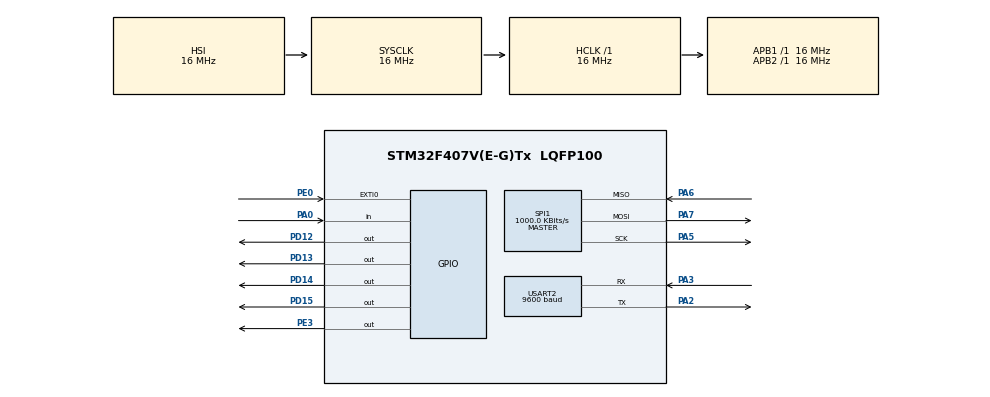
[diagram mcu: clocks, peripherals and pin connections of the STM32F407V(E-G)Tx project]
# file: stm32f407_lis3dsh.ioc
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Mcu.Family=STM32F4
Mcu.Name=STM32F407V(E-G)Tx
Mcu.Package=LQFP100
NVIC.EXTI0_IRQn=true\:0\:0\:false\:false\:true\:true
NVIC.PriorityGroup=NVIC_PRIORITYGROUP_4
PA0-WKUP.Signal=GPIO_Input
PA2.Mode=Asynchronous
PA2.Signal=USART2_TX
PA3.Mode=Asynchronous
PA3.Signal=USART2_RX
PA5.Mode=Full_Duplex_Master
PA5.Signal=SPI1_SCK
PA6.Mode=Full_Duplex_Master
PA6.Signal=SPI1_MISO
PA7.Mode=Full_Duplex_Master
PA7.Signal=SPI1_MOSI
PD12.Signal=GPIO_Output
PD13.Signal=GPIO_Output
PD14.Signal=GPIO_Output
PD15.Signal=GPIO_Output
PE0.Signal=GPXTI0
PE3.PinState=GPIO_PIN_SET
PE3.Signal=GPIO_Output
ProjectManager.HeapSize=0x200
ProjectManager.StackSize=0x400
ProjectManager.TargetToolchain=SW4STM32
RCC.AHBFreq_Value=16000000
RCC.APB1Freq_Value=16000000
RCC.APB2Freq_Value=16000000
RCC.CortexFreq_Value=16000000
RCC.HSE_VALUE=25000000
RCC.HSI_VALUE=16000000
RCC.LSE_VALUE=32768
RCC.SYSCLKFreq_VALUE=16000000
RCC.VCOOutputFreq_Value=192000000
SPI1.BaudRatePrescaler=SPI_BAUDRATEPRESCALER_16
SPI1.CalculateBaudRate=1000.0 KBits/s
SPI1.Direction=SPI_DIRECTION_2LINES
SPI1.Mode=SPI_MODE_MASTER
SPI1.VirtualType=VM_MASTER
USART2.BaudRate=9600
USART2.VirtualMode=VM_ASYNC
board=stm32f407_lis3dsh

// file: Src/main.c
/**
 ******************************************************************************
 * File Name          : main.c
 * Description        : Main program body
 ******************************************************************************
 ** This notice applies to any and all portions of this file
 * that are not between comment pairs USER CODE BEGIN and
 * USER CODE END. Other portions of this file, whether
 * inserted by the user or by software development tools
 * are owned by their respective copyright owners.
 *
 * COPYRIGHT(c) 2018 STMicroelectronics
 *
 * Redistribution and use in source and binary forms, with or without modification,
 * are permitted provided that the following conditions are met:
 *   1. Redistributions of source code must retain the above copyright notice,
 *      this list of conditions and the following disclaimer.
 *   2. Redistributions in binary form must reproduce the above copyright notice,
 *      this list of conditions and the following disclaimer in the documentation
 *      and/or other materials provided with the distribution.
 *   3. Neither the name of STMicroelectronics nor the names of its contributors
 *      may be used to endorse or promote products derived from this software
 *      without specific prior written permission.
 *
 * THIS SOFTWARE IS PROVIDED BY THE COPYRIGHT HOLDERS AND CONTRIBUTORS "AS IS"
 * AND ANY EXPRESS OR IMPLIED WARRANTIES, INCLUDING, BUT NOT LIMITED TO, THE
 * IMPLIED WARRANTIES OF MERCHANTABILITY AND FITNESS FOR A PARTICULAR PURPOSE ARE
 * DISCLAIMED. IN NO EVENT SHALL THE COPYRIGHT HOLDER OR CONTRIBUTORS BE LIABLE
 * FOR ANY DIRECT, INDIRECT, INCIDENTAL, SPECIAL, EXEMPLARY, OR CONSEQUENTIAL
 * DAMAGES (INCLUDING, BUT NOT LIMITED TO, PROCUREMENT OF SUBSTITUTE GOODS OR
 * SERVICES; LOSS OF USE, DATA, OR PROFITS; OR BUSINESS INTERRUPTION) HOWEVER
 * CAUSED AND ON ANY THEORY OF LIABILITY, WHETHER IN CONTRACT, STRICT LIABILITY,
 * OR TORT (INCLUDING NEGLIGENCE OR OTHERWISE) ARISING IN ANY WAY OUT OF THE USE
 * OF THIS SOFTWARE, EVEN IF ADVISED OF THE POSSIBILITY OF SUCH DAMAGE.
 *
 ******************************************************************************
 */

#include "main.h"
#include "stm32f4xx_hal.h"

/* USER CODE BEGIN Includes */
#include <stdio.h>
#include <string.h>
#include "LIS3DSH/LIS3DSH.h"

/* USER CODE END Includes */

SPI_HandleTypeDef hspi1;

UART_HandleTypeDef huart2;

/* USER CODE BEGIN PV */
/* Private variables ---------------------------------------------------------*/
char str_buf[64];
/* USER CODE END PV */

void SystemClock_Config(void);
static void MX_GPIO_Init(void);
static void MX_SPI1_Init(void);
static void MX_USART2_UART_Init(void);

/* USER CODE BEGIN PFP */
/* Private function prototypes -----------------------------------------------*/

/* USER CODE END PFP */

/* USER CODE BEGIN 0 */

void _spi_cs_set() {
	HAL_GPIO_WritePin(GPIOE, GPIO_PIN_3, GPIO_PIN_SET);
}

void _spi_cs_reset() {
	HAL_GPIO_WritePin(GPIOE, GPIO_PIN_3, GPIO_PIN_RESET);
}

void _spi_write_reg(uint8_t reg, uint8_t *data, uint16_t len) {
	HAL_SPI_Transmit(&hspi1, data, len, 50);
}

void _spi_read_reg(uint8_t reg, uint8_t *data, uint16_t len) {
	uint8_t read_reg = reg | 0x80;
	HAL_SPI_Transmit(&hspi1, &read_reg, 1, 50);
	HAL_SPI_Receive(&hspi1, data, len, 50);
}

/* USER CODE END 0 */

int main(void) {

	/* MCU Configuration----------------------------------------------------------*/

	/* Reset of all peripherals, Initializes the Flash interface and the Systick. */
	HAL_Init();

	/* Configure the system clock */
	SystemClock_Config();

	/* Initialize all configured peripherals */
	MX_GPIO_Init();
	MX_SPI1_Init();
	MX_USART2_UART_Init();

	/* USER CODE BEGIN 2 */
	SPI_Read_Reg = _spi_read_reg;
	SPI_Write_Reg = _spi_write_reg;

	SPI_CS_Reset = _spi_cs_reset;
	SPI_CS_Set = _spi_cs_set;

	Lis3dsh lis3dsh;
	LIS3DSH_init(&lis3dsh);

	/* USER CODE END 2 */

	/* Infinite loop */
	while (1) {

		/* USER CODE BEGIN 3 */
		float pitch, roll;
		LIS3DSH_readXYZ(&lis3dsh);
		LIS3DSH_calc_pitch_roll(&lis3dsh, &pitch, &roll);

		memset(str_buf, 0, 64);
		sprintf(str_buf, "PITCH = %f | ROLL = %f \n", pitch, roll);
		HAL_UART_Transmit(&huart2, (uint8_t *) str_buf, strlen(str_buf), 50);

	}
	/* USER CODE END 3 */

}

/** System Clock Configuration
 */
void SystemClock_Config(void) {

	RCC_OscInitTypeDef RCC_OscInitStruct;
	RCC_ClkInitTypeDef RCC_ClkInitStruct;

	/**Configure the main internal regulator output voltage
	 */
	__HAL_RCC_PWR_CLK_ENABLE()
	;

	__HAL_PWR_VOLTAGESCALING_CONFIG(PWR_REGULATOR_VOLTAGE_SCALE1);

	/**Initializes the CPU, AHB and APB busses clocks
	 */
	RCC_OscInitStruct.OscillatorType = RCC_OSCILLATORTYPE_HSI;
	RCC_OscInitStruct.HSIState = RCC_HSI_ON;
	RCC_OscInitStruct.HSICalibrationValue = 16;
	RCC_OscInitStruct.PLL.PLLState = RCC_PLL_NONE;
	if (HAL_RCC_OscConfig(&RCC_OscInitStruct) != HAL_OK) {
		_Error_Handler(__FILE__, __LINE__);
	}

	/**Initializes the CPU, AHB and APB busses clocks
	 */
	RCC_ClkInitStruct.ClockType = RCC_CLOCKTYPE_HCLK | RCC_CLOCKTYPE_SYSCLK
			| RCC_CLOCKTYPE_PCLK1 | RCC_CLOCKTYPE_PCLK2;
	RCC_ClkInitStruct.SYSCLKSource = RCC_SYSCLKSOURCE_HSI;
	RCC_ClkInitStruct.AHBCLKDivider = RCC_SYSCLK_DIV1;
	RCC_ClkInitStruct.APB1CLKDivider = RCC_HCLK_DIV1;
	RCC_ClkInitStruct.APB2CLKDivider = RCC_HCLK_DIV1;

	if (HAL_RCC_ClockConfig(&RCC_ClkInitStruct, FLASH_LATENCY_0) != HAL_OK) {
		_Error_Handler(__FILE__, __LINE__);
	}

	/**Configure the Systick interrupt time
	 */
	HAL_SYSTICK_Config(HAL_RCC_GetHCLKFreq() / 1000);

	/**Configure the Systick
	 */
	HAL_SYSTICK_CLKSourceConfig(SYSTICK_CLKSOURCE_HCLK);

	/* SysTick_IRQn interrupt configuration */
	HAL_NVIC_SetPriority(SysTick_IRQn, 0, 0);
}

/* SPI1 init function */
static void MX_SPI1_Init(void) {

	/* SPI1 parameter configuration*/
	hspi1.Instance = SPI1;
	hspi1.Init.Mode = SPI_MODE_MASTER;
	hspi1.Init.Direction = SPI_DIRECTION_2LINES;
	hspi1.Init.DataSize = SPI_DATASIZE_8BIT;
	hspi1.Init.CLKPolarity = SPI_POLARITY_LOW;
	hspi1.Init.CLKPhase = SPI_PHASE_1EDGE;
	hspi1.Init.NSS = SPI_NSS_SOFT;
	hspi1.Init.BaudRatePrescaler = SPI_BAUDRATEPRESCALER_16;
	hspi1.Init.FirstBit = SPI_FIRSTBIT_MSB;
	hspi1.Init.TIMode = SPI_TIMODE_DISABLE;
	hspi1.Init.CRCCalculation = SPI_CRCCALCULATION_DISABLE;
	hspi1.Init.CRCPolynomial = 10;
	if (HAL_SPI_Init(&hspi1) != HAL_OK) {
		_Error_Handler(__FILE__, __LINE__);
	}

}

/* USART2 init function */
static void MX_USART2_UART_Init(void) {

	huart2.Instance = USART2;
	huart2.Init.BaudRate = 9600;
	huart2.Init.WordLength = UART_WORDLENGTH_8B;
	huart2.Init.StopBits = UART_STOPBITS_1;
	huart2.Init.Parity = UART_PARITY_NONE;
	huart2.Init.Mode = UART_MODE_TX_RX;
	huart2.Init.HwFlowCtl = UART_HWCONTROL_NONE;
	huart2.Init.OverSampling = UART_OVERSAMPLING_16;
	if (HAL_UART_Init(&huart2) != HAL_OK) {
		_Error_Handler(__FILE__, __LINE__);
	}

}

/** Configure pins as
 * Analog
 * Input
 * Output
 * EVENT_OUT
 * EXTI
 */
static void MX_GPIO_Init(void) {

	GPIO_InitTypeDef GPIO_InitStruct;

	/* GPIO Ports Clock Enable */
	__HAL_RCC_GPIOE_CLK_ENABLE()
	;
	__HAL_RCC_GPIOA_CLK_ENABLE()
	;
	__HAL_RCC_GPIOD_CLK_ENABLE()
	;

	/*Configure GPIO pin Output Level */
	HAL_GPIO_WritePin(GPIOE, GPIO_PIN_3, GPIO_PIN_SET);

	/*Configure GPIO pin Output Level */
	HAL_GPIO_WritePin(GPIOD,
			GPIO_PIN_12 | GPIO_PIN_13 | GPIO_PIN_14 | GPIO_PIN_15,
			GPIO_PIN_RESET);

	/*Configure GPIO pin : PE3 */
	GPIO_InitStruct.Pin = GPIO_PIN_3;
	GPIO_InitStruct.Mode = GPIO_MODE_OUTPUT_PP;
	GPIO_InitStruct.Pull = GPIO_NOPULL;
	GPIO_InitStruct.Speed = GPIO_SPEED_FREQ_LOW;
	HAL_GPIO_Init(GPIOE, &GPIO_InitStruct);

	/*Configure GPIO pin : PA0 */
	GPIO_InitStruct.Pin = GPIO_PIN_0;
	GPIO_InitStruct.Mode = GPIO_MODE_INPUT;
	GPIO_InitStruct.Pull = GPIO_NOPULL;
	HAL_GPIO_Init(GPIOA, &GPIO_InitStruct);

	/*Configure GPIO pins : PD12 PD13 PD14 PD15 */
	GPIO_InitStruct.Pin = GPIO_PIN_12 | GPIO_PIN_13 | GPIO_PIN_14 | GPIO_PIN_15;
	GPIO_InitStruct.Mode = GPIO_MODE_OUTPUT_PP;
	GPIO_InitStruct.Pull = GPIO_NOPULL;
	GPIO_InitStruct.Speed = GPIO_SPEED_FREQ_LOW;
	HAL_GPIO_Init(GPIOD, &GPIO_InitStruct);

	/*Configure GPIO pin : PE0 */
	GPIO_InitStruct.Pin = GPIO_PIN_0;
	GPIO_InitStruct.Mode = GPIO_MODE_IT_RISING;
	GPIO_InitStruct.Pull = GPIO_NOPULL;
	HAL_GPIO_Init(GPIOE, &GPIO_InitStruct);

	/* EXTI interrupt init*/
	HAL_NVIC_SetPriority(EXTI0_IRQn, 0, 0);
	HAL_NVIC_EnableIRQ(EXTI0_IRQn);

}

void _Error_Handler(char * file, int line) {
	while (1) {
	}
}

/************************ (C) COPYRIGHT STMicroelectronics *****END OF FILE****/
